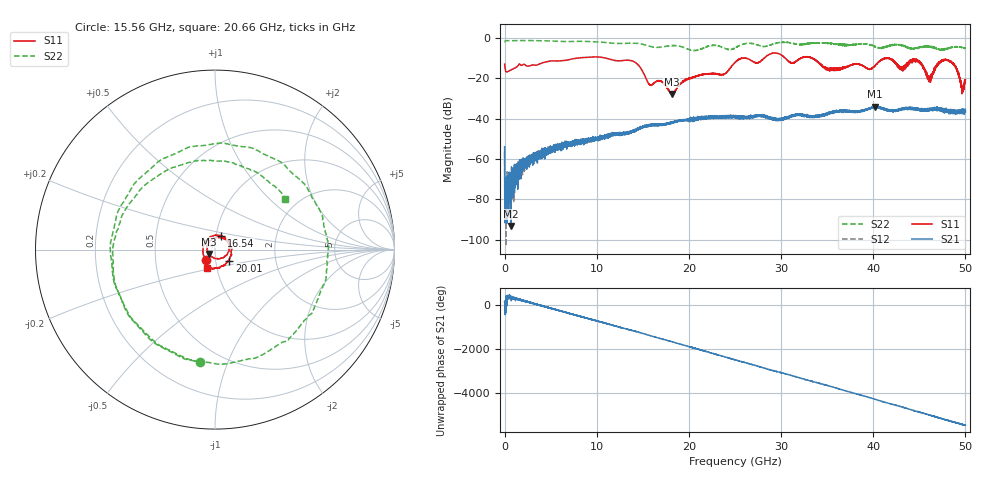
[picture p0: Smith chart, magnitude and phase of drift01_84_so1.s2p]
!Created with skrf (http://scikit-rf.org).
# Hz S RI R 50.0
!freq ReS11 ImS11 ReS21 ImS21 ReS12 ImS12 ReS22 ImS22
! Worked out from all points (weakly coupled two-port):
!   10001 points, 300 kHz to 50 GHz, reference 50 ohm
!   highest |S21| = -34.03 dB at 40.23 GHz (marker M1); lowest = -93.1 dB at 665.3 MHz (marker M2)
!   lowest |S11| = -27.8 dB at 18.12 GHz (marker M3), VSWR 1.08, Z = 46.8 - j2.32 ohm
!   |S11| at or under -10 dB: start of sweep to 8.052 GHz; 10.9 GHz to 25.88 GHz (14.98 GHz wide, 81.5 % of centre); 41.39 GHz to end of sweep (the widest 3 of 22)
!   |S22| runs from -6.4 to -1.4 dB; largest |S21 - S12| = 0.0044
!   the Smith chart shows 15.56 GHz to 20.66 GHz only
!   S11 on the Smith chart (normalised r, x): 15.56 GHz: 0.90, -0.11; 16.54 GHz: 1.05, +0.17; 20.01 GHz: 1.16, -0.15; 20.66 GHz: 0.90, -0.18
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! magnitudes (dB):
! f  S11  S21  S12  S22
! 300 kHz  -13.0  -54.0  -56.5  -2.1
! 255.3 MHz  -16.9  -91.8  -79.0  -1.4
! 665.3 MHz  -16.0  -93.1  -71.9  -1.5
! 2.955 GHz  -13.6  -61.0  -59.6  -1.4
! 8.335 GHz  -9.9  -51.7  -51.4  -1.8
! 13.86 GHz  -11.5  -46.5  -46.5  -2.7
! 15.56 GHz  -22.1  -43.2  -43.2  -4.0
! 16.54 GHz  -21.4  -43.0  -43.1  -4.8
! 16.67 GHz  -21.3  -42.9  -43.0  -4.8
! 18.12 GHz  -27.8  -41.8  -41.9  -4.0
! 20.01 GHz  -19.9  -40.4  -40.9  -5.8
! 20.66 GHz  -19.2  -40.2  -40.3  -6.3
! 25 GHz  -12.2  -39.4  -39.0  -5.0
! 33.34 GHz  -10.1  -39.2  -39.0  -2.8
! 35.14 GHz  -15.4  -37.1  -37.4  -2.8
! 40.23 GHz  -13.8  -34.0  -34.0  -4.5
! 41.67 GHz  -10.1  -35.7  -36.0  -3.9
! 43.04 GHz  -15.1  -35.4  -35.2  -3.9
! 44.82 GHz  -11.3  -35.8  -35.5  -5.0
! 46.12 GHz  -19.6  -35.9  -35.3  -4.2
! 48.05 GHz  -11.2  -36.1  -35.5  -5.1
! 50 GHz  -20.8  -36.9  -36.5  -5.3
